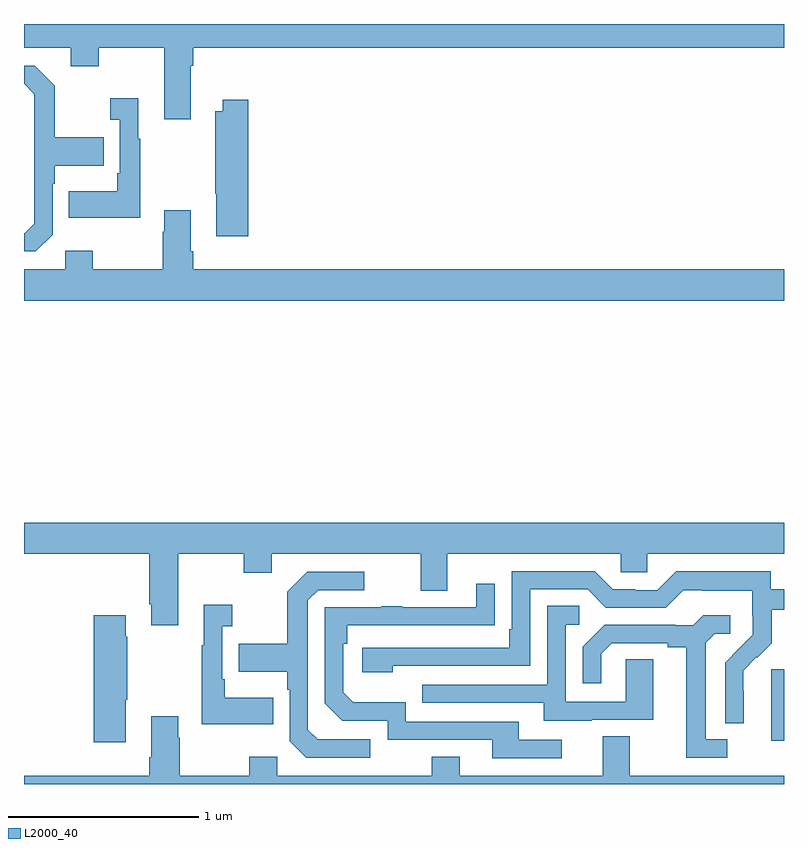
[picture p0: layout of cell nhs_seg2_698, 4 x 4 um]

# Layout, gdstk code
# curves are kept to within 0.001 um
import gdstk
lib = gdstk.Library(unit=1e-6, precision=1e-09)
def R(c, l, rs):  # rectangles x0, y0, x1, y1
    for r in rs: c.add(gdstk.rectangle(r[:2], r[2:], *l))
def P(c, l, *ps):  # polygons
    for p in ps: c.add(gdstk.Polygon(p, *l))
L2000_40 = (2000, 40)

nhs_seg2_698 = lib.new_cell('nhs_seg2_698')
R(nhs_seg2_698, L2000_40, [(150.932,604.028,151,604.405)])
P(nhs_seg2_698, L2000_40, [(147.877,607.58),(147.89,607.58),(147.89,607.676),(151,607.676),(151,607.8),(147,607.8),(147,607.676),(147.245,607.676),(147.245,607.577),(147.393,607.577),(147.393,607.676),(147.737,607.676),(147.737,607.299),(147.877,607.299)],
  [(147.15,606.69),(147.15,606.959),(147.163,606.959),(147.163,607.055),(147.419,607.055),(147.419,607.203),(147.163,607.203),(147.163,607.475),(147.057,607.581),(147,607.581),(147,607.485),(147.054,607.431),(147.054,606.75),(147.003,606.699),(147,606.699),(147,606.603),(147.063,606.603)],
  [(147.613,607.195),(147.601,607.195),(147.601,607.408),(147.453,607.408),(147.453,607.295),(147.504,607.295),(147.504,607.015),(147.492,607.015),(147.492,606.919),(147.235,606.919),(147.235,606.779),(147.613,606.779)],
  [(148.181,607.402),(148.046,607.402),(148.046,607.342),(148.006,607.342),(148.006,606.907),(148.013,606.907),(148.013,606.684),(148.181,606.684)],
  [(151,606.508),(147.89,606.508),(147.89,606.604),(147.877,606.604),(147.877,606.82),(147.737,606.82),(147.737,606.707),(147.73,606.707),(147.73,606.508),(147.363,606.508),(147.363,606.607),(147.216,606.607),(147.216,606.508),(147,606.508),(147,606.344),(151,606.344)],
  [(147.811,605.012),(148.156,605.012),(148.156,604.913),(148.303,604.913),(148.303,605.012),(149.087,605.012),(149.087,604.818),(149.227,604.818),(149.227,605.012),(150.141,605.012),(150.141,604.914),(150.279,604.914),(150.279,605.012),(151,605.012),(151,605.176),(147,605.176),(147,605.012),(147.659,605.012),(147.659,604.747),(147.671,604.747),(147.671,604.635),(147.811,604.635)],
  [(150.787,604.292),(150.785,604.292),(150.785,604.397),(150.855,604.467),(150.858,604.464),(150.935,604.541),(150.935,604.716),(151,604.716),(151,604.824),(150.93,604.824),(150.93,604.921),(150.433,604.921),(150.333,604.821),(150.218,604.821),(150.218,604.824),(150.099,604.824),(150.003,604.92),(149.568,604.92),(149.568,604.615),(149.555,604.615),(149.555,604.518),(148.779,604.518),(148.779,604.388),(148.94,604.388),(148.94,604.422),(149.664,604.422),(149.664,604.824),(149.967,604.824),(150.063,604.728),(150.378,604.728),(150.471,604.821),(150.571,604.821),(150.571,604.817),(150.834,604.817),(150.834,604.683),(150.836,604.683),(150.836,604.586),(150.69,604.438),(150.69,604.12),(150.787,604.12)],
  [(148.822,604.035),(148.545,604.035),(148.494,604.086),(148.494,604.767),(148.548,604.821),(148.792,604.821),(148.792,604.917),(148.491,604.917),(148.386,604.811),(148.386,604.539),(148.129,604.539),(148.129,604.391),(148.386,604.391),(148.386,604.295),(148.398,604.295),(148.398,604.026),(148.485,603.939),(148.822,603.939)],
  [(149.83,604.032),(149.605,604.032),(149.605,604.128),(149.01,604.128),(149.01,604.231),(148.733,604.231),(148.68,604.284),(148.68,604.538),(148.7,604.538),(148.7,604.635),(149.477,604.636),(149.477,604.855),(149.381,604.855),(149.381,604.731),(148.991,604.731),(148.991,604.736),(148.879,604.736),(148.879,604.731),(148.584,604.731),(148.584,604.224),(148.674,604.134),(148.914,604.134),(148.914,604.032),(149.465,604.032),(149.465,603.936),(149.83,603.936)],
  [(148.313,604.255),(148.057,604.255),(148.057,604.351),(148.044,604.351),(148.044,604.631),(148.096,604.631),(148.096,604.744),(147.947,604.744),(147.947,604.531),(147.936,604.531),(147.936,604.115),(148.313,604.115)],
  [(149.989,604.137),(150.313,604.137),(150.313,604.457),(150.168,604.457),(150.168,604.233),(149.85,604.233),(149.85,604.638),(149.923,604.638),(149.923,604.739),(149.754,604.739),(149.754,604.323),(149.095,604.323),(149.095,604.227),(149.735,604.227),(149.735,604.133),(149.989,604.133)],
  [(150.7,604.035),(150.589,604.035),(150.589,604.543),(150.636,604.59),(150.718,604.59),(150.718,604.687),(150.574,604.687),(150.522,604.635),(150.428,604.635),(150.428,604.638),(150.056,604.638),(149.94,604.522),(149.94,604.329),(150.037,604.329),(150.037,604.485),(150.094,604.542),(150.389,604.542),(150.389,604.52),(150.485,604.52),(150.485,603.939),(150.7,603.939)],
  [(147.535,604.243),(147.543,604.243),(147.543,604.574),(147.535,604.574),(147.535,604.687),(147.368,604.687),(147.368,604.02),(147.535,604.02)],
  [(151,603.844),(150.187,603.844),(150.187,604.052),(150.047,604.052),(150.047,603.844),(149.293,603.844),(149.293,603.943),(149.146,603.943),(149.146,603.844),(148.332,603.844),(148.332,603.943),(148.186,603.943),(148.186,603.844),(147.819,603.844),(147.819,604.043),(147.811,604.043),(147.811,604.156),(147.671,604.156),(147.671,603.94),(147.659,603.94),(147.659,603.844),(147,603.844),(147,603.8),(151,603.8)])

lib.write_gds('nhs_seg2_698.gds')
